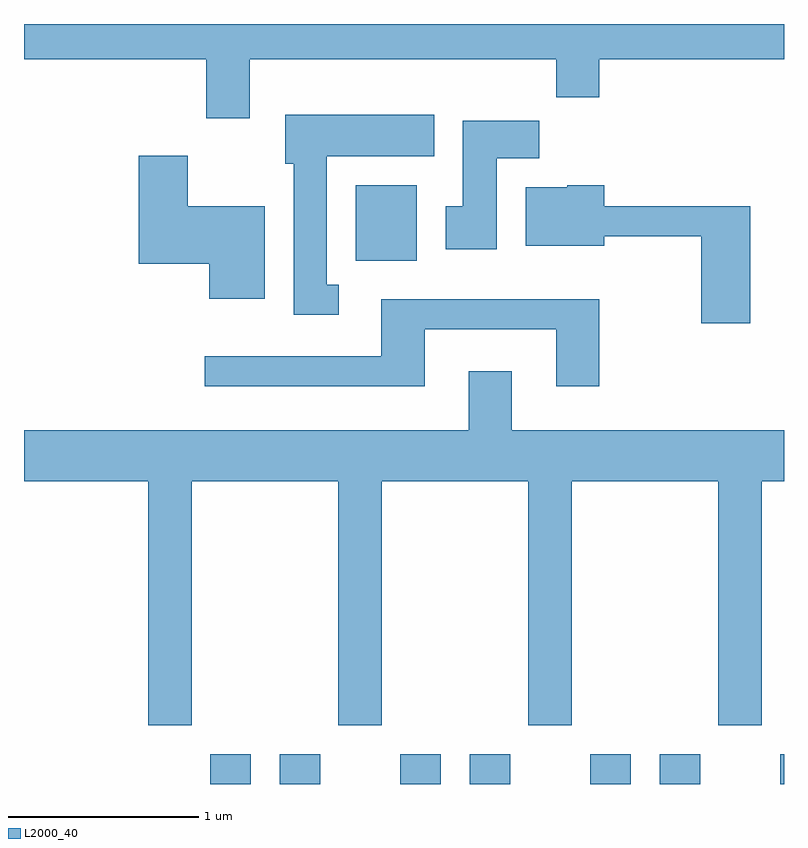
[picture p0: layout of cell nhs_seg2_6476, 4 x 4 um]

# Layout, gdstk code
import gdstk
lib = gdstk.Library(unit=1e-6, precision=1e-09)
def R(c, l, rs):  # rectangles x0, y0, x1, y1
    for r in rs: c.add(gdstk.rectangle(r[:2], r[2:], *l))
def P(c, l, *ps):  # polygons
    for p in ps: c.add(gdstk.Polygon(p, *l))
L2000_40 = (2000, 40)

nhs_seg2_6476 = lib.new_cell('nhs_seg2_6476')
R(nhs_seg2_6476, L2000_40, [(376.591,1077.802,376.804,1077.959), (376.956,1077.802,377.169,1077.959), (377.591,1077.802,377.804,1077.959), (377.956,1077.802,378.169,1077.959), (378.591,1077.802,378.804,1077.959), (378.956,1077.802,379.169,1077.959), (379.591,1077.802,379.611,1077.959), (377.356,1080.556,377.679,1080.954)])
P(nhs_seg2_6476, L2000_40, [(376.799,1081.616),(378.411,1081.616),(378.411,1081.416),(378.639,1081.416),(378.639,1081.616),(379.611,1081.616),(379.611,1081.802),(375.611,1081.802),(375.611,1081.616),(376.571,1081.616),(376.571,1081.306),(376.799,1081.306)],
  [(377.268,1080.429),(377.204,1080.429),(377.204,1081.106),(377.769,1081.106),(377.769,1081.324),(376.986,1081.324),(376.986,1081.066),(377.031,1081.066),(377.031,1080.271),(377.268,1080.271)],
  [(378.099,1081.096),(378.324,1081.096),(378.324,1081.294),(377.921,1081.294),(377.921,1080.844),(377.831,1080.844),(377.831,1080.616),(378.099,1080.616)],
  [(376.879,1080.844),(376.474,1080.844),(376.474,1081.109),(376.216,1081.109),(376.216,1080.541),(376.586,1080.541),(376.586,1080.356),(376.879,1080.356)],
  [(379.434,1080.844),(378.664,1080.844),(378.664,1080.954),(378.47,1080.954),(378.47,1080.944),(378.251,1080.944),(378.251,1080.636),(378.664,1080.636),(378.664,1080.686),(379.176,1080.686),(379.176,1080.226),(379.434,1080.226)],
  [(377.719,1080.196),(378.411,1080.196),(378.411,1079.896),(378.639,1079.896),(378.639,1080.354),(377.491,1080.354),(377.491,1080.054),(376.563,1080.054),(376.563,1079.896),(377.719,1079.896)],
  [(376.494,1079.396),(377.266,1079.396),(377.266,1078.111),(377.494,1078.111),(377.494,1079.396),(378.266,1079.396),(378.266,1078.111),(378.494,1078.111),(378.494,1079.396),(379.266,1079.396),(379.266,1078.111),(379.494,1078.111),(379.494,1079.396),(379.611,1079.396),(379.611,1079.664),(378.179,1079.664),(378.179,1079.974),(377.951,1079.974),(377.951,1079.664),(375.611,1079.664),(375.611,1079.396),(376.266,1079.396),(376.266,1078.111),(376.494,1078.111)])

lib.write_gds('nhs_seg2_6476.gds')
